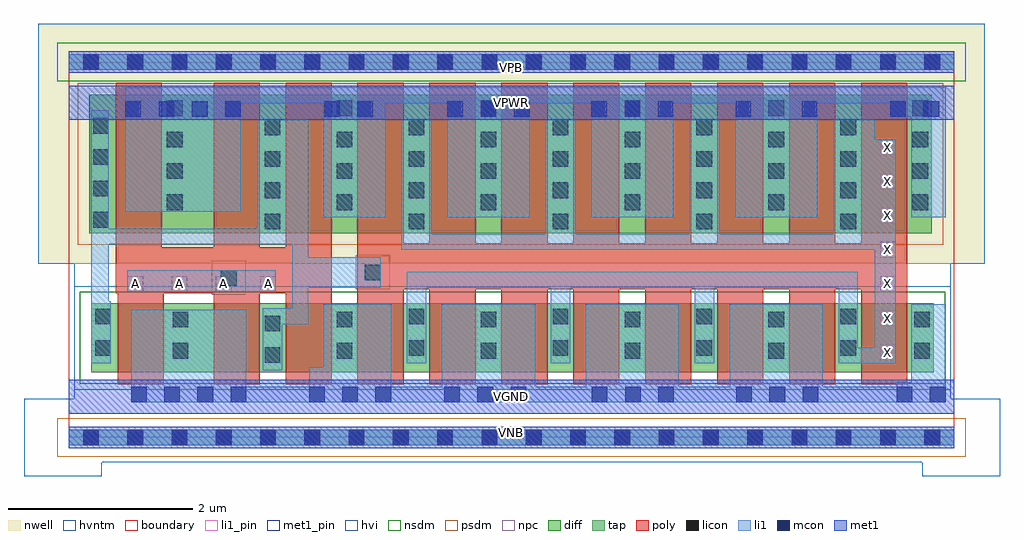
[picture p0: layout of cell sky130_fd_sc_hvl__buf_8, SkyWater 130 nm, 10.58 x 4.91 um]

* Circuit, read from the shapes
.subckt sky130_fd_sc_hvl__buf_8 A VGND VNB VPB VPWR X
XM1 VGND A n1 VNB sky130_fd_pr__nfet_g5v0d10v5 w=0.75 l=0.5 m=3
XM2 X n1 VGND VNB sky130_fd_pr__nfet_g5v0d10v5 w=0.75 l=0.5 m=8
XM3 VPWR A n1 VPB sky130_fd_pr__pfet_g5v0d10v5 w=1.5 l=0.5 m=3
XM4 X n1 VPWR VPB sky130_fd_pr__pfet_g5v0d10v5 w=1.5 l=0.5 m=8
.ends

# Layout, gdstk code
import gdstk
lib = gdstk.Library(unit=1e-6, precision=1e-09)
def R(c, l, rs):  # rectangles x0, y0, x1, y1
    for r in rs: c.add(gdstk.rectangle(r[:2], r[2:], *l))
def A(c, l, x, y, w, h, nx, ny, dx, dy):  # array of equal rectangles
    R(c, l, [(x+i*dx, y+j*dy, x+i*dx+w, y+j*dy+h) for i in range(nx) for j in range(ny)])
nwell = (64, 20)
diff = (65, 20)
tap = (65, 44)
poly = (66, 20)
licon = (66, 44)
li1_pin = (67, 16)
li1 = (67, 20)
mcon = (67, 44)
met1_pin = (68, 16)
met1 = (68, 20)
hvi = (75, 20)
nsdm = (93, 44)
psdm = (94, 20)
npc = (95, 20)
hvntm = (125, 20)
boundary = (235, 4)

sky130_fd_sc_hvl__buf_8 = lib.new_cell('sky130_fd_sc_hvl__buf_8')
R(sky130_fd_sc_hvl__buf_8, nwell, [(-0.33,1.885,9.93,4.485)])
R(sky130_fd_sc_hvl__buf_8, diff, [(0.245,0.705,9.375,1.455), (0.225,2.215,9.355,3.715)])
R(sky130_fd_sc_hvl__buf_8, tap, [(0,-0.085,9.6,0.085), (0,3.985,9.6,4.155)])
A(sky130_fd_sc_hvl__buf_8, poly, 3.13, 0.575, 0.5, 1.03, 8, 1, 0.78, 0)
A(sky130_fd_sc_hvl__buf_8, poly, 3.13, 2.105, 0.5, 1.74, 8, 1, 0.78, 0)
R(sky130_fd_sc_hvl__buf_8, poly, [(0.53,0.575,1.03,1.565), (1.57,0.575,2.07,1.565), (2.35,0.575,2.85,1.565), (0.51,1.565,2.85,2.065), (3.13,1.605,9.09,2.105), (0.51,2.065,1.01,3.845), (1.57,2.065,2.07,3.845), (2.35,2.065,2.85,3.845)])
A(sky130_fd_sc_hvl__buf_8, licon, 0.155, -0.085, 0.17, 0.17, 20, 2, 0.48, 4.07)
A(sky130_fd_sc_hvl__buf_8, licon, 2.905, 0.855, 0.17, 0.17, 4, 2, 1.56, 0.34)
A(sky130_fd_sc_hvl__buf_8, licon, 3.685, 0.885, 0.17, 0.17, 4, 2, 1.56, 0.34)
A(sky130_fd_sc_hvl__buf_8, licon, 2.125, 2.255, 0.17, 0.17, 5, 4, 1.56, 0.34)
A(sky130_fd_sc_hvl__buf_8, licon, 0.265, 2.275, 0.17, 0.17, 1, 4, 0, 0.34)
A(sky130_fd_sc_hvl__buf_8, licon, 1.065, 2.465, 0.17, 0.17, 1, 4, 0, 0.34)
A(sky130_fd_sc_hvl__buf_8, licon, 2.905, 2.465, 0.17, 0.17, 5, 4, 1.56, 0.34)
R(sky130_fd_sc_hvl__buf_8, licon, [(2.125,0.81,2.295,0.98), (1.125,0.855,1.295,1.025), (9.165,0.855,9.335,1.025), (0.285,0.885,0.455,1.055), (2.125,1.15,2.295,1.32), (1.125,1.195,1.295,1.365), (9.165,1.195,9.335,1.365), (0.285,1.225,0.455,1.395), (1.65,1.645,1.82,1.815), (3.21,1.705,3.38,1.875)])
A(sky130_fd_sc_hvl__buf_8, li1_pin, 8.795, 0.84, 0.17, 0.17, 1, 7, 0, 0.37)
A(sky130_fd_sc_hvl__buf_8, li1_pin, 0.635, 1.58, 0.17, 0.17, 4, 1, 0.48, 0)
A(sky130_fd_sc_hvl__buf_8, li1, 4.045, 0.55, 1.01, 0.895, 3, 1, 1.56, 0)
A(sky130_fd_sc_hvl__buf_8, li1, 3.665, 0.805, 0.21, 0.82, 3, 1, 1.56, 0)
A(sky130_fd_sc_hvl__buf_8, li1, 3.605, 2.205, 0.33, 1.24, 3, 1, 1.56, 0)
A(sky130_fd_sc_hvl__buf_8, li1, 4.105, 2.385, 0.89, 1.24, 3, 1, 1.56, 0)
R(sky130_fd_sc_hvl__buf_8, li1, [(0,-0.085,9.6,0.085), (0.675,0.38,9.505,0.55), (0.675,0.55,1.925,1.385), (2.605,0.55,3.495,0.76), (8.975,0.55,9.505,0.6), (9.135,0.6,9.505,1.445), (2.105,0.73,2.315,1.23), (2.765,0.76,3.495,1.445), (0.245,0.805,0.455,1.475), (8.345,0.805,8.965,0.975), (8.345,0.975,8.555,1.625), (8.735,0.975,8.965,2.035), (2.105,1.23,2.595,1.4), (2.425,1.4,2.595,1.625), (0.245,1.475,0.435,2.095), (0.635,1.58,2.245,1.815), (2.425,1.625,3.38,1.955), (3.665,1.625,8.555,1.795), (2.425,1.955,2.595,2.095), (3.605,2.035,8.965,2.205), (0.245,2.095,2.595,2.265), (8.285,2.205,8.965,3.23), (0.245,2.265,0.435,3.545), (2.045,2.265,2.595,3.445), (2.765,2.385,3.435,3.625), (9.135,2.385,9.505,3.475), (0.615,2.445,1.865,3.625), (8.285,3.23,8.735,3.445), (8.905,3.475,9.505,3.625), (0.615,3.625,9.505,3.795), (0,3.985,9.6,4.155)])
A(sky130_fd_sc_hvl__buf_8, mcon, 0.155, -0.085, 0.17, 0.17, 20, 2, 0.48, 4.07)
A(sky130_fd_sc_hvl__buf_8, mcon, 0.675, 0.38, 0.17, 0.17, 4, 1, 0.36, 0)
A(sky130_fd_sc_hvl__buf_8, mcon, 2.605, 0.38, 0.17, 0.17, 3, 1, 0.36, 0)
A(sky130_fd_sc_hvl__buf_8, mcon, 4.07, 0.38, 0.17, 0.17, 3, 1, 0.36, 0)
A(sky130_fd_sc_hvl__buf_8, mcon, 5.67, 0.38, 0.17, 0.17, 3, 1, 0.36, 0)
A(sky130_fd_sc_hvl__buf_8, mcon, 7.235, 0.38, 0.17, 0.17, 3, 1, 0.36, 0)
A(sky130_fd_sc_hvl__buf_8, mcon, 0.615, 3.475, 0.17, 0.17, 4, 1, 0.36, 0)
A(sky130_fd_sc_hvl__buf_8, mcon, 4.105, 3.475, 0.17, 0.17, 3, 1, 0.36, 0)
A(sky130_fd_sc_hvl__buf_8, mcon, 5.665, 3.475, 0.17, 0.17, 3, 1, 0.36, 0)
R(sky130_fd_sc_hvl__buf_8, mcon, [(8.975,0.38,9.145,0.55), (9.335,0.38,9.505,0.55), (2.77,3.475,2.94,3.645), (3.13,3.475,3.3,3.645), (7.23,3.475,7.4,3.645), (7.945,3.475,8.115,3.645), (8.905,3.475,9.075,3.645), (9.265,3.475,9.435,3.645)])
R(sky130_fd_sc_hvl__buf_8, met1_pin, [(0,0,9.6,0.115), (0,0.255,9.6,0.625), (0,3.445,9.6,3.815), (0,3.955,9.6,4.07)])
R(sky130_fd_sc_hvl__buf_8, met1, [(0,-0.115,9.6,0.115), (0,0.255,9.6,0.625), (0,3.445,9.6,3.815), (0,3.955,9.6,4.185)])
R(sky130_fd_sc_hvl__buf_8, hvi, [(-0.485,-0.42,0.36,-0.27), (9.25,-0.42,10.095,-0.27), (-0.485,-0.27,10.095,0.42), (0.06,0.42,9.56,1.885), (-0.33,1.885,9.93,4.485)])
R(sky130_fd_sc_hvl__buf_8, nsdm, [(0.12,0.58,9.5,1.58), (-0.125,3.86,9.725,4.28)])
R(sky130_fd_sc_hvl__buf_8, psdm, [(-0.125,-0.21,9.725,0.21), (0.1,2.09,9.48,3.84)])
R(sky130_fd_sc_hvl__buf_8, npc, [(1.55,1.545,1.92,1.915), (3.11,1.605,3.48,1.975)])
R(sky130_fd_sc_hvl__buf_8, hvntm, [(0.06,0.52,9.56,1.64)])
R(sky130_fd_sc_hvl__buf_8, boundary, [(0,0,9.6,4.07)])
sky130_fd_sc_hvl__buf_8.add(gdstk.Label('VPB', (4.8,4.01), layer=68, texttype=5))
sky130_fd_sc_hvl__buf_8.add(gdstk.Label('VNB', (4.8,0.055), layer=68, texttype=5))
sky130_fd_sc_hvl__buf_8.add(gdstk.Label('VPWR', (4.8,3.63), layer=68, texttype=5))
sky130_fd_sc_hvl__buf_8.add(gdstk.Label('VPB', (4.8,4.012), layer=68, texttype=5))
sky130_fd_sc_hvl__buf_8.add(gdstk.Label('VNB', (4.8,0.057), layer=68, texttype=5))
sky130_fd_sc_hvl__buf_8.add(gdstk.Label('VGND', (4.8,0.44), layer=68, texttype=5))
sky130_fd_sc_hvl__buf_8.add(gdstk.Label('X', (8.88,0.925), layer=67, texttype=5))
sky130_fd_sc_hvl__buf_8.add(gdstk.Label('X', (8.88,1.295), layer=67, texttype=5))
sky130_fd_sc_hvl__buf_8.add(gdstk.Label('X', (8.88,1.665), layer=67, texttype=5))
sky130_fd_sc_hvl__buf_8.add(gdstk.Label('X', (8.88,2.035), layer=67, texttype=5))
sky130_fd_sc_hvl__buf_8.add(gdstk.Label('X', (8.88,2.405), layer=67, texttype=5))
sky130_fd_sc_hvl__buf_8.add(gdstk.Label('X', (8.88,2.775), layer=67, texttype=5))
sky130_fd_sc_hvl__buf_8.add(gdstk.Label('X', (8.88,3.145), layer=67, texttype=5))
sky130_fd_sc_hvl__buf_8.add(gdstk.Label('A', (0.72,1.665), layer=67, texttype=5))
sky130_fd_sc_hvl__buf_8.add(gdstk.Label('A', (1.2,1.665), layer=67, texttype=5))
sky130_fd_sc_hvl__buf_8.add(gdstk.Label('A', (1.68,1.665), layer=67, texttype=5))
sky130_fd_sc_hvl__buf_8.add(gdstk.Label('A', (2.16,1.665), layer=67, texttype=5))

lib.write_gds('sky130_fd_sc_hvl__buf_8.gds')
